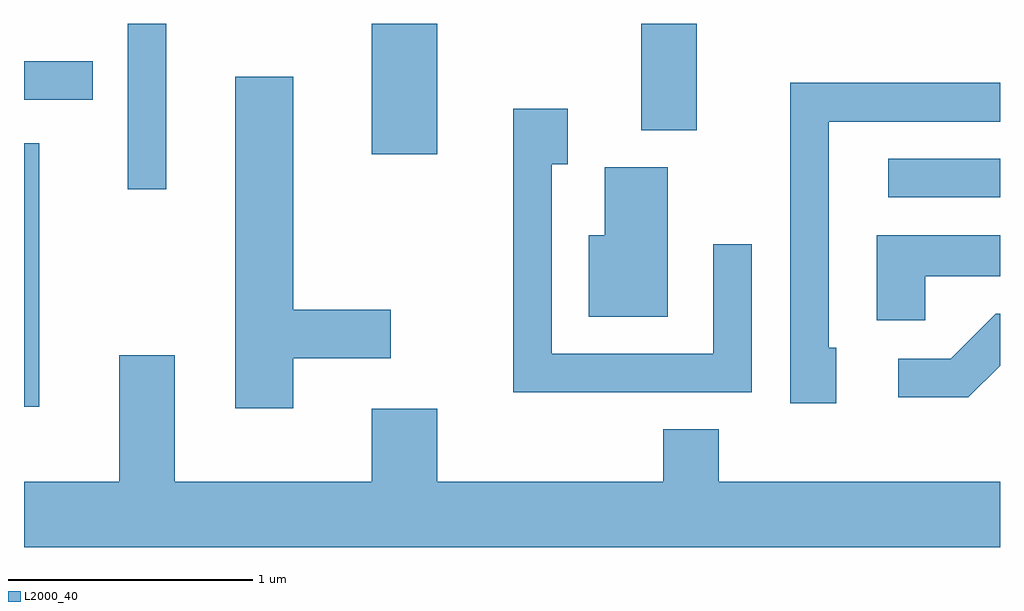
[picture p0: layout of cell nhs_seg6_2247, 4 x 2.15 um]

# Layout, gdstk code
import gdstk
lib = gdstk.Library(unit=1e-6, precision=1e-09)
def R(c, l, rs):  # rectangles x0, y0, x1, y1
    for r in rs: c.add(gdstk.rectangle(r[:2], r[2:], *l))
def P(c, l, *ps):  # polygons
    for p in ps: c.add(gdstk.Polygon(p, *l))
L2000_40 = (2000, 40)

nhs_seg6_2247 = lib.new_cell('nhs_seg6_2247')
R(nhs_seg6_2247, L2000_40, [(253.611,1570.593,253.674,1571.673), (257.153,1571.451,257.611,1571.609), (254.036,1571.483,254.194,1572.162), (255.036,1571.626,255.304,1572.162), (256.141,1571.726,256.369,1572.162), (253.611,1571.851,253.893,1572.009)])
P(nhs_seg6_2247, L2000_40, [(254.714,1570.791),(255.114,1570.791),(255.114,1570.989),(254.714,1570.989),(254.714,1571.944),(254.476,1571.944),(254.476,1570.586),(254.714,1570.586)],
  [(256.939,1570.834),(256.909,1570.834),(256.909,1571.761),(257.611,1571.761),(257.611,1571.919),(256.751,1571.919),(256.751,1570.606),(256.939,1570.606)],
  [(256.594,1571.258),(256.436,1571.258),(256.436,1570.809),(255.774,1570.809),(255.774,1571.586),(255.839,1571.586),(255.839,1571.814),(255.616,1571.814),(255.616,1570.651),(256.594,1570.651)],
  [(256.249,1571.574),(255.991,1571.574),(255.991,1571.294),(255.926,1571.294),(255.926,1570.961),(256.249,1570.961)],
  [(257.304,1571.126),(257.611,1571.126),(257.611,1571.294),(257.106,1571.294),(257.106,1570.946),(257.304,1570.946)],
  [(257.611,1570.761),(257.611,1570.974),(257.594,1570.974),(257.409,1570.789),(257.193,1570.789),(257.193,1570.631),(257.481,1570.631)],
  [(257.611,1570.284),(256.459,1570.284),(256.459,1570.499),(256.231,1570.499),(256.231,1570.284),(255.304,1570.284),(255.304,1570.584),(255.036,1570.584),(255.036,1570.284),(254.229,1570.284),(254.229,1570.804),(254.001,1570.804),(254.001,1570.284),(253.611,1570.284),(253.611,1570.016),(257.611,1570.016)])

lib.write_gds('nhs_seg6_2247.gds')
